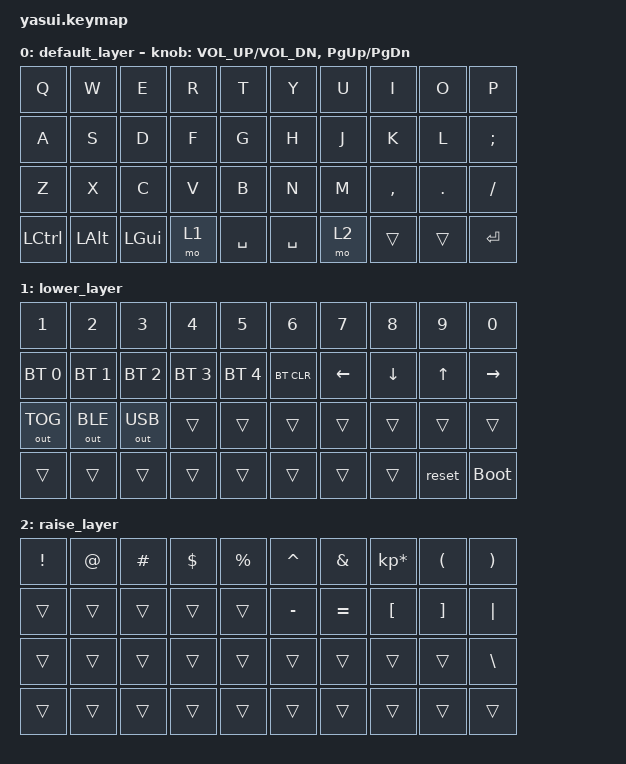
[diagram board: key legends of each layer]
#include <behaviors.dtsi>
#include <dt-bindings/zmk/keys.h>
#include <dt-bindings/zmk/bt.h>
#include <dt-bindings/zmk/outputs.h>
#include "yasui.dtsi"


#define DEFAULT 0
#define NUMPAD 1
#define SYMBOLS 2
#define EXTRAS 3


/ {
       keymap {
              compatible = "zmk,keymap";
 
              default_layer {
 // ---------------------------------------------------------------------------------------------------------------------------------
 // |   Q    |   W    |   E    |   R    |   T    |   Y   |   U   |   I    |   O    |   P    |
 // |   A    |   S    |   D    |   F    |   G    |   H   |   J   |   K    |   L    |   ;    |
 // |   Z    |   X    |   C    |   V    |   B    |   N   |   M   |   ,    |   .    |   /    |
 // |  CTL   |  LALT  |  GUI   | LOWER  |  SPACE | SPACE | RAISE |        |        | ENTER  |
                     bindings = <

    &kp Q      &kp W    &kp E    &kp R     &kp T     &kp Y     &kp U     &kp I     &kp O      &kp P    
    &kp A      &kp S    &kp D    &kp F     &kp G     &kp H     &kp J     &kp K     &kp L      &kp SEMI 
    &kp Z      &kp X    &kp C    &kp V     &kp B     &kp N     &kp M     &kp COMMA &kp PERIOD &kp SLASH 
    &kp LCTL  &kp LALT &kp LGUI &mo 1     &kp SPACE &kp SPACE &mo 2     &trans    &trans     &kp ENTER
                     >;
                     
                  sensor-bindings = <&inc_dec_kp C_VOL_UP C_VOL_DN &inc_dec_kp PG_UP PG_DN>;
              };
                lower_layer {
// -----------------------------------------------------------------------------------------
// |   1    |   2    |   3    |   4   |   5   |   6   |   7   |   8   |   9   |   0   |
// |  BT1   |  BT2   |  BT3   |  BT4  |  BT5  | BTCLR |  LFT  |  DWN  |   UP  |  RGT  |
// |  OTG   |  BLE   |  USB   |       |       |       |       |       |       |       |
// |        |        |        |       |       |       |       |       | RESET |BOOTLDR|
                        bindings = <
   &kp N1       &kp N2       &kp N3       &kp N4       &kp N5       &kp N6       &kp N7   &kp N8   &kp N9   &kp N0
   &bt BT_SEL 0 &bt BT_SEL 1 &bt BT_SEL 2 &bt BT_SEL 3 &bt BT_SEL 4 &bt BT_CLR   &kp LEFT &kp DOWN &kp UP  &kp RIGHT
   &out OUT_TOG &out OUT_BLE &out OUT_USB &trans       &trans       &trans       &trans   &trans   &trans  &trans
   &trans       &trans       &trans       &trans       &trans       &trans       &trans   &trans   &reset  &bootloader
                        >;
                };
                raise_layer {
// -----------------------------------------------------------------------------------------
// |    !   |   @   |   #   |   $   |   %   |   ^   |   &   |   *   |   (   |   )   |
// |        |       |       |       |       |   -   |   =   |   {   |   }   |  "|"  |
// |        |       |       |       |       |   _   |   +   |   [   |   ]   |   \   |
// |        |       |       |       |       |       |       |       |       |       |
                        bindings = <
   &kp EXCL  &kp AT  &kp HASH  &kp DLLR  &kp PRCNT   &kp CARET &kp AMPS  &kp KP_MULTIPLY &kp LPAR &kp RPAR
   &trans    &trans  &trans    &trans    &trans      &kp MINUS &kp EQUAL &kp LBKT        &kp RBKT &kp PIPE
   &trans    &trans  &trans    &trans    &trans      &trans    &trans    &trans          &trans   &kp BSLH
   &trans    &trans  &trans    &trans    &trans      &trans    &trans    &trans          &trans   &trans
                        >;
                };
        };
};
